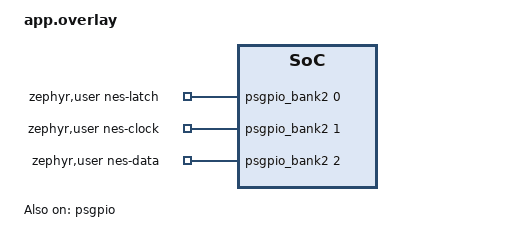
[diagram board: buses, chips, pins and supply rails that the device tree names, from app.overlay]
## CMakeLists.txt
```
cmake_minimum_required(VERSION 3.20.0)
set(DTC_OVERLAY_FILE "${CMAKE_CURRENT_SOURCE_DIR}/app.overlay")
find_package(Zephyr REQUIRED HINTS $ENV{ZEPHYR_BASE})

project(nes_emulator CXX C)

target_include_directories(app PRIVATE include)

target_sources(app PRIVATE
    src/main.cpp
    src/virtual_screen.cpp
    src/CPU/cpu_core.cpp
    src/CPU/cpu_instructions.cpp
    src/CPU/cpu_utils.cpp
    src/CPU/address_logic.cpp
    src/PPU/PPU.cpp
    src/PPU/ppu_helper.cpp
    src/BUSComponents/bus.cpp
    src/BUSComponents/memory.cpp
    src/BUSComponents/cartridge.cpp
    src/BUSComponents/GLOBAL_VARIABLES.cpp
    src/input/nes_controller.cpp
    src/fb_udp.c
)

# Embed the NES ROM directly into the firmware image as a C byte array.
# Override with -DNES_ROM=/abs/path/to/game.nes at configure time.
# Default points at the smb.bin used during development.
set(NES_ROM "$ENV{HOME}/ZephyrOpensource/ADI_Temp/Licenta/smb.bin"
    CACHE FILEPATH "Path to the NES ROM to embed in the firmware")

if(NOT EXISTS "${NES_ROM}")
    message(FATAL_ERROR "NES_ROM not found: ${NES_ROM}\n"
                        "Pass -DNES_ROM=/path/to/game.nes to west build.")
endif()

# Write into include/generated (already on the system include path) so the
# array can be pulled in with #include <nes_rom.inc>.
generate_inc_file_for_target(app "${NES_ROM}"
    ${ZEPHYR_BINARY_DIR}/include/generated/nes_rom.inc)
```

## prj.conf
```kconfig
# PL310 L2 outer cache. Was disabled to isolate an earlier boot hang; re-enabled
# for performance now that CONFIG_NOCACHE_MEMORY=y handles GEM DMA coherency
# (the usual cause of PL310-related hangs on this SoC).
CONFIG_SOC_XILINX_PL310=y

# Optimize for speed — the NES core is a compute-bound interpreter, default
# -Os leaves a lot on the table.
CONFIG_SPEED_OPTIMIZATIONS=y

# C++ support
CONFIG_CPP=y
CONFIG_STD_CPP17=y
CONFIG_REQUIRES_FLOAT_PRINTF=n

# Logging — IMMEDIATE so messages print synchronously instead of being queued
# for a low-priority log thread that the busy emu thread never lets run.
CONFIG_LOG=y
CONFIG_LOG_DEFAULT_LEVEL=3
CONFIG_LOG_MODE_IMMEDIATE=y

# ROM embedded in the firmware image at build time (see CMakeLists.txt) — no SD driver needed

# Threading
CONFIG_MULTITHREADING=y
CONFIG_MAIN_STACK_SIZE=4096

# Heap for filesystem buffers
CONFIG_HEAP_MEM_POOL_SIZE=32768

# GPIO for NES controller
CONFIG_GPIO=y

# Random number generation (needed by network stack)
CONFIG_ENTROPY_GENERATOR=y
CONFIG_TEST_RANDOM_GENERATOR=y

# Networking - TCP framebuffer streaming (reliable, flow-controlled: no dropped
# frames, emulator paced by the link instead of overflowing TX buffers)
CONFIG_NETWORKING=y
CONFIG_NET_SOCKETS=y
CONFIG_NET_TCP=y
CONFIG_NET_UDP=y
CONFIG_NET_IPV4=y
CONFIG_NET_IF_UNICAST_IPV4_ADDR_COUNT=1
CONFIG_NET_CONFIG_SETTINGS=y
CONFIG_NET_CONFIG_MY_IPV4_ADDR="192.0.2.3"
CONFIG_NET_CONFIG_MY_IPV4_GW="192.0.2.1"
CONFIG_NET_CONFIG_MY_IPV4_NETMASK="255.255.255.0"

# Ethernet driver menu + L2 layer — REQUIRED. Without both, the whole
# ethernet driver menu is off and CONFIG_ETH_XLNX_GEM below is silently
# ignored (no interface, no link).
CONFIG_ETH_DRIVER=y
CONFIG_NET_L2_ETHERNET=y
CONFIG_ETH_XLNX_GEM=y

# Place the GEM DMA buffer-descriptor rings in non-cached RAM. The Zynq-7000
# GEM DMA does not snoop the cache, so caching the rings causes coherency
# stalls / silent hangs. (Same setting zperf uses on this board.)
CONFIG_NOCACHE_MEMORY=y

# Bulk RX/TX at 1G needs deeper network thread stacks than the default.
CONFIG_NET_TX_STACK_SIZE=65536
CONFIG_NET_RX_STACK_SIZE=65536
CONFIG_NET_PKT_RX_COUNT=16
CONFIG_NET_PKT_TX_COUNT=64
CONFIG_NET_BUF_RX_COUNT=64
CONFIG_NET_BUF_TX_COUNT=256
```

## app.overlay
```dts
/*
 * NES controller GPIO mapping.
 * psgpio_bank2 = EMIO GPIO bank (Zynq MIO is banks 0-1, EMIO starts at bank 2).
 * Pins 0,1,2 = EMIO bits 0,1,2 as assigned in Vivado block design.
 *
 * XDC mapping (JA PMOD header):
 *   EMIO[0] = JA1 (Y11)  = LATCH
 *   EMIO[1] = JA2 (AA11) = CLOCK
 *   EMIO[2] = JA3 (Y10)  = DATA
 */
/ {
    zephyr,user {
        nes-latch-gpios = <&psgpio_bank2 0 GPIO_ACTIVE_HIGH>;
        nes-clock-gpios = <&psgpio_bank2 1 GPIO_ACTIVE_HIGH>;
        nes-data-gpios  = <&psgpio_bank2 2 GPIO_ACTIVE_HIGH>;
    };
};

&psgpio {
    status = "okay";
};
```

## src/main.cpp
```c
#include <zephyr/kernel.h>
#include <zephyr/logging/log.h>
#include <zephyr/sys/device_mmio.h>
#include <string.h>

#include "bus.h"
#include "cartridge.h"
#include "cpu.h"
#include "ppu.h"
#include "virtual_screen.h"
#include "nes_controller.h"
#include "fb_udp.h"

LOG_MODULE_REGISTER(nes_main, LOG_LEVEL_INF);

static volatile uint8_t *bram_fb;

#define ROM_PATH "" /* ROM loaded by U-Boot into RAM, path unused */

#define EMU_STACK_SIZE    8192
#define INPUT_STACK_SIZE  1024
#define EMU_PRIORITY      5
#define INPUT_PRIORITY    4   /* higher priority than emulator so input is always fresh */

extern uint8_t pixels[256 * 240];
extern volatile bool RENDER_ENABLED;

/* Shared controller byte — input thread writes, emulator thread reads */
static volatile uint8_t controller_byte;

/* Gate the emulator until the network is up. The emu thread busy-spins and
 * would otherwise starve the lower-priority net stack threads (PHY link poll,
 * net-mgmt, config), so the interface would never come up. Set true only after
 * fb_udp_init() has the interface ready. */
static volatile bool net_ready;

/* ------------------------------------------------------------------ */
/* Input thread: polls the NES controller every 10ms                  */
/* ------------------------------------------------------------------ */

static void input_thread_fn(void *p1, void *p2, void *p3)
{
    ARG_UNUSED(p1);
    ARG_UNUSED(p2);
    ARG_UNUSED(p3);

    while (1) {
        controller_byte = nes_controller_read();
        k_msleep(10);
    }
}

K_THREAD_DEFINE(input_thread, INPUT_STACK_SIZE,
                input_thread_fn, NULL, NULL, NULL,
                INPUT_PRIORITY, 0, 0);

/* ------------------------------------------------------------------ */
/* Emulation thread                                                    */
/* ------------------------------------------------------------------ */

static bool leap_cycle;

static void emu_thread_fn(void *p1, void *p2, void *p3)
{
    ARG_UNUSED(p1);
    ARG_UNUSED(p2);
    ARG_UNUSED(p3);

    LOG_INF("Emulation thread started");

    /* Wait for networking to come up before busy-spinning, otherwise this
     * thread starves the net stack and the interface never initialises.
     * k_msleep() yields to all lower-priority threads (unlike k_yield()). */
    while (!net_ready) {
        k_msleep(50);
    }
    LOG_INF("Network ready — emulation running");

    uint32_t emu_us = 0, send_us = 0;
    int prof = 0;

    /* Real-time frame pacing. The NES runs at ~60 Hz; the emulator is far
     * faster than that, so without throttling the game plays at several times
     * normal speed. We compute each frame's deadline as an absolute tick count
     * from a fixed base (base + frame * TICKS_PER_SEC / NES_FPS) — multiplying
     * before dividing keeps rounding from accumulating, so the cadence stays
     * locked to 60 Hz with no long-term drift. */
    const int NES_FPS = 60;
    int64_t base_ticks = k_uptime_ticks();
    uint64_t frame = 0;

    while (1) {
        uint32_t t0 = k_cycle_get_32();

        /* Emulate exactly one NES frame. ppu_render_scanline() advances the
         * scanline counter and sets RENDER_ENABLED when it wraps past the last
         * scanline, marking the frame boundary. */
        do {
            ppu_render_scanline();

            int cpu_ticks = 113 + (leap_cycle ? 1 : 0);
            leap_cycle = !leap_cycle;

            for (int j = 0; j < cpu_ticks; j++) {
                cpu_clock();
            }
        } while (!RENDER_ENABLED);

        controller[0] = controller_byte;
        RENDER_ENABLED = false;

        uint32_t t1 = k_cycle_get_32();

        memcpy((void *)bram_fb, pixels, 256 * 240);
        fb_udp_send_frame(pixels, 256, 240);

        uint32_t t2 = k_cycle_get_32();

        emu_us += k_cyc_to_us_floor32(t1 - t0);
        send_us += k_cyc_to_us_floor32(t2 - t1);
        if (++prof >= NES_FPS) {
            LOG_INF("avg/frame: emu=%u us  send=%u us  (capped ~%u fps)",
                    emu_us / NES_FPS, send_us / NES_FPS, NES_FPS);
            emu_us = send_us = 0;
            prof = 0;
        }

        /* Sleep until this frame's absolute deadline. If emulation+send already
         * overran the budget the deadline is in the past and k_sleep() returns
         * immediately (no artificial slowdown below real time). */
        frame++;
        int64_t deadline = base_ticks +
            (int64_t)((frame * CONFIG_SYS_CLOCK_TICKS_PER_SEC) / NES_FPS);
        k_sleep(K_TIMEOUT_ABS_TICKS(deadline));
    }
}

K_THREAD_DEFINE(emu_thread, EMU_STACK_SIZE,
                emu_thread_fn, NULL, NULL, NULL,
                EMU_PRIORITY, 0, 0);

/* ------------------------------------------------------------------ */
/* Main                                                                */
/* ------------------------------------------------------------------ */

int main(void)
{
    LOG_INF("NES Emulator starting on Zephyr");

    mm_reg_t bram_virt;
    device_map(&bram_virt, 0x40000000UL, 0x10000, K_MEM_CACHE_NONE);
    bram_fb = (volatile uint8_t *)bram_virt;
    LOG_INF("BRAM mapped: phys=0x40000000 virt=0x%08x", (uint32_t)bram_virt);

    if (nes_controller_init() != 0) {
        LOG_WRN("NES controller init failed — running without input");
    }

    screen_init();
    memory_init();

    if (!cartridge_read_file(ROM_PATH)) {
        LOG_ERR("Failed to load ROM: %s", ROM_PATH);
        return -1;
    }

    bus_init();
    cpu_init();
    cpu_reset();
    ppu_init();

    if (fb_udp_init() == 0) {
        net_ready = true;
    } else {
        LOG_ERR("network init failed — framebuffer streaming disabled");
        /* Let the emulator run anyway so input/PPU still work locally. */
        net_ready = true;
    }

    LOG_INF("Emulator initialised — threads running");
    return 0;
}
```

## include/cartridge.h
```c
#ifndef CARTRIDGE_HEADERGUARD
#define CARTRIDGE_HEADERGUARD
#include <stdint.h>
#include "emulator_config.h"
#include "memory.h"
typedef uint8_t byte;

struct Nametable_Map
{
    uint16_t map[4];
};

enum MIRROR
{
    VERTICAL,
    HORIZONTAL
};
extern Config config;


extern MIRROR mirroring;

bool cartridge_read_file(const char* rom_name);
const int PRG_BANK_SIZE = 16 * 1024;
const int CHR_BANK_SIZE = 8 * 1024;

/* iNES mapper numbers this emulator understands. */
#define MAPPER_NROM 0
#define MAPPER_MMC1 1
#define MAPPER_MMC3 4

/* Set by cartridge_read_file() so the bus (memory.cpp) can route CPU writes
 * to $8000-$FFFF into the active mapper instead of treating them as ROM. */
extern byte cart_mapper;

/* True when the cartridge has no CHR ROM and the 8 KB CHR window is RAM
 * (writable via the PPU bus). Mapper-0 games with CHR ROM leave this false. */
extern bool chr_is_ram;

/**
 * @brief Feed one CPU write to the MMC1 (mapper 1) serial port.
 *
 * MMC1 latches a value over five consecutive writes to $8000-$FFFF; this
 * drives that shift register and applies bank/mirroring changes once a
 * register completes. Only call for cart_mapper == MAPPER_MMC1.
 *
 * @param addr CPU address of the write ($8000-$FFFF); bits 14-13 select the
 *             target internal register on the fifth write.
 * @param data Byte written; bit 7 resets the shift register, bit 0 is data.
 */
void mmc1_write(uint16_t addr, byte data);

/**
 * @brief Feed one CPU write to the MMC3 (mapper 4) registers.
 *
 * Bank/mirroring/IRQ registers are selected by the address range and its low
 * bit (even/odd). Only call for cart_mapper == MAPPER_MMC3.
 *
 * @param addr CPU address of the write ($8000-$FFFF).
 * @param data Byte written.
 */
void mmc3_write(uint16_t addr, byte data);

/**
 * @brief Clock the mapper's scanline IRQ counter (MMC3).
 *
 * Call once per visible scanline while rendering is enabled. No-op for mappers
 * without a scanline counter. May set the CPU IRQ line pending.
 */
void mapper_scanline(void);




#endif
```

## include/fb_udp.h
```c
#ifndef FB_UDP_H
#define FB_UDP_H

#include <stdint.h>

#ifdef __cplusplus
extern "C" {
#endif

int fb_udp_init(void);
void fb_udp_send_frame(const uint32_t *pixels, int width, int height);

#ifdef __cplusplus
}
#endif

#endif
```

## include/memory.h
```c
#ifndef MEMORY_HEADERGUARD
#define MEMORY_HEADERGUARD
#include "ppu.h"
#include "bus.h"
#include <stdint.h>
#include <string.h>
#include <stdio.h>


typedef uint8_t byte;

void memory_init();


extern byte PRGrom[0x8000];
extern byte CHRrom[0x4000];
extern byte CPUram[0x0800];
extern byte PPUram[0x3FFF];
extern byte PRGram[0x2000];

byte cpu_read(uint16_t addr);
void cpu_write(uint16_t addr, byte data);


#endif
```

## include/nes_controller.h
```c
#ifndef NES_CONTROLLER_H
#define NES_CONTROLLER_H

#include <stdint.h>

/*
 * Button bits in the returned byte (active high, unlike the raw wire).
 * Order matches the 74HC4021 shift order: A is MSB, Right is LSB.
 */
#define NES_BTN_A       (1 << 7)
#define NES_BTN_B       (1 << 6)
#define NES_BTN_SELECT  (1 << 5)
#define NES_BTN_START   (1 << 4)
#define NES_BTN_UP      (1 << 3)
#define NES_BTN_DOWN    (1 << 2)
#define NES_BTN_LEFT    (1 << 1)
#define NES_BTN_RIGHT   (1 << 0)

int  nes_controller_init(void);
uint8_t nes_controller_read(void);

#endif
```

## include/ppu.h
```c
#ifndef HEADERGUARD_PPU
#define HEADERGUARD_PPU
#include <stdint.h>
#include "virtual_screen.h"
#include "cartridge.h"
#include "memory.h"

#define VISIBLE_SCANLINES 240
#define VISIBLE_DOTS 256
#define FRAME_END_SCANLINE 261
#define DOTS_PER_SCANLINE 341
#define LAST_SCANLINE_DOT 340

typedef uint8_t byte;

// this is size 4
struct _OAM
{
    byte y;
    byte id;
    byte attributes;
    byte x;
}; // this is how a sprite is stored

extern union PPUStatus
{
    struct
    {
        uint8_t unused : 5;          
        uint8_t sprite_overflow : 1; 
        uint8_t sprite_zero_hit : 1; 
        uint8_t vertical_blank : 1;  
    };
    byte reg;
} status;

extern union PPUmask
{
    struct
    {
        byte grayscale : 1;
        byte render_background_left : 1;
        byte render_sprites_left : 1;
        byte render_background : 1;
        byte render_sprites : 1;
        byte enhance_red : 1;
        byte enhance_green : 1;
        byte enhance_blue : 1;
    };

    byte reg;
} mask;

extern union PPUctrl
{
    struct
    {
        byte nametable_x : 1;
        byte nametable_y : 1;
        byte increment_mode : 1;
        byte pattern_sprite : 1;
        byte pattern_background : 1;
        byte sprite_size : 1;
        byte slave_mode : 1; // UNUSED
        byte enable_nmi : 1;
    };
    byte reg;
} control;

union loopy
{
    // THE X and T registers play more roles. Can either be used as address for vram or for selecting other stuff
    struct
    {
        uint16_t coarse_x : 5;
        uint16_t coarse_y : 5;
        uint16_t nametable_x : 1;
        uint16_t nametable_y : 1;
        uint16_t fine_y : 3;
        uint16_t unused : 1;
    };
    uint16_t reg;
};

extern bool pause_after_frame;
extern uint16_t current_frame;
extern bool odd_frame;

// byte bus;
extern loopy vaddr; 
// in render = scrolling position, outside of rendering = the current VRAM address
extern loopy taddr; 
// During rendering it does something. Outsdie of rendering, holds the VRAM address before transfering it to v
extern uint16_t x; 
// FINE x position of the current scroll, used during rendering alongside v
extern uint16_t w; 
// Togles on each write to PPUSCROLL or PPUADDR, indicating whether it's the first or secnon dwrite. Clears on reads of PPUSTATUS
// its also claled the write latch or write toggle

extern int16_t scanline;
extern uint16_t dots;
extern byte transparent_pixel_color;
extern bool PPUSCROLL_latch;
extern bool PPUADDR_latch;
extern bool first_write;

extern uint16_t PPUSCROLL16;
extern uint16_t PPUADDR16;
extern byte PPUDATA;
extern byte OAMDMA;
extern byte PPU_BUFFER;
extern bool even_frame;
extern _OAM OAM[64];
extern byte *pOAM; // pointer to OAM for byte by byte access
void ppu_init();


extern byte OAMADDR;
extern byte OAMDATA;
extern byte PPUSCROLL;

extern byte nametable[2][0x0400]; // mirrored
extern byte patterntable[2][0x1000];
extern byte pallete_table[32];
extern byte fine_x; // 3 bits wide! 

// rendering shift registers! they shift every PPU clock. There are 2 16bit registers
// https://www.nesdev.org/wiki/PPU_rendering


// BACKGROUND RENDEERING
extern uint16_t bgs_pattern_l;
extern uint16_t bgs_pattern_h;
extern uint16_t bgs_attribute_l;
extern uint16_t bgs_attribute_h;
extern byte bg_next_tile_id;
extern byte bg_next_tile_attrib;
extern byte bg_next_tile_lsb;
extern byte bg_next_tile_msb;

// FOREGROUND RENDERING
extern _OAM sprites_on_scanline[8]; // only 8 sprites per scanline
extern byte sprite_cnt;
extern byte sp_pattern_l[8];        // Every sprite pattern is made of 16 bits
extern byte sp_pattern_h[8];
extern bool sprite_zero_on_scanline;
extern bool sprite_zero_is_rendering;
void ppu_reset();
void ppu_render_scanline();
void ppu_execute();
void set_vblank_nmi();
void clear_vblank_nmi();
void set_vblank();
void clear_vblank();
byte get_status();
byte get_control();
// For main bus

byte ppu_read_from_cpu(byte addr);
void ppu_write_from_cpu(byte addr, byte data);
// for internal ppu bus

byte ppu_read(uint16_t addr);
void ppu_write(uint16_t addr, byte data);

/* Nametable mirroring modes for ppu_set_mirroring() (match MMC1 control bits). */
#define NT_MIRROR_ONE_LOWER  0
#define NT_MIRROR_ONE_UPPER  1
#define NT_MIRROR_VERTICAL   2
#define NT_MIRROR_HORIZONTAL 3

/**
 * @brief Set nametable mirroring at runtime (used by MMC1/MMC3).
 *
 * @param mode One of NT_MIRROR_ONE_LOWER, NT_MIRROR_ONE_UPPER,
 *             NT_MIRROR_VERTICAL, NT_MIRROR_HORIZONTAL.
 */
void ppu_set_mirroring(int mode);

// PPU Helper functions and variables
extern byte flip_byte[256];
void generate_flip_byte_lt();
void build_tile_cache();
void build_tile_cache_range(int first_tile, int tile_count);


void clock_shifters();

inline void load_bg_shifters();
inline void transfer_address_x();
inline void increment_scroll_x();
inline void increment_scroll_y();
inline void transfer_address_y();


void init_sprites_on_scanline();
loopy build_background_scanline(int scanline_index, loopy vaddr_snapshot, byte fine_x_snapshot);

// Unused. PPU used to be a state machine, now it just renders scanline by scanline 
enum State
{
    PRE_RENDER,
    RENDER,
    POST_RENDER,
    VERTICAL_BLANK
};
extern State pipeline_state;
extern int cycle;


//Optimizations 
extern byte scanline_buffer[256];
extern byte tile_pixels[512][8][8]; //Decode CHR tiles in advance - for Mapper0 games this never changes
extern bool tile_cache_initialized;
byte ppu_read_nametable_tile(byte nt_x, byte nt_y, byte coarse_x, byte coarse_y);
#endif
```

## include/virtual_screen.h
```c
#ifndef VIRTUAL_SCREEN_H
#define VIRTUAL_SCREEN_H
#include <stdint.h>

/*
This file contains a virtual screen from which
the framebuffer will be created.

Each pixel is stored as a 6-bit NES palette index (1 byte/pixel) rather than a
resolved ARGB32 color. This keeps the framebuffer at 256*240 = 60 KB instead of
240 KB, cutting the per-frame TCP payload by 4x. The PC viewer owns the
palette->RGB lookup (see pc_viewer/viewer.py, which mirrors the table below).
*/
void screen_init();
extern uint8_t pixels[256 * 240];
extern volatile bool RENDER_ENABLED;

inline void screen_set_pixel(uint16_t scanline, uint16_t dot, uint8_t color_index)
{
    pixels[256 * scanline + dot] = color_index;
}


#endif
```

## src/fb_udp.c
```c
#include "fb_udp.h"
#include <zephyr/kernel.h>
#include <zephyr/net/socket.h>
#include <zephyr/net/net_if.h>
#include <zephyr/logging/log.h>
#include <string.h>
#include <stdint.h>
#include <errno.h>

LOG_MODULE_REGISTER(fb_udp, LOG_LEVEL_INF);

/* TCP server: the board listens, the PC viewer connects in. TCP gives ordered,
 * reliable, flow-controlled delivery, so unlike the old UDP scheme there are no
 * dropped chunks / discarded frames and the emulator is naturally paced by the
 * link instead of overflowing the TX buffer pool. */
#define LISTEN_PORT  5555

/* Wire format per frame: 4-byte big-endian length, then that many raw bytes
 * (the ARGB32 framebuffer). The viewer reads the length, then that many bytes. */
#define LEN_HEADER_SIZE 4

static int listen_sock = -1;
static int conn_sock = -1;

/* Wait for the default interface to come up and get an IPv4 address. The
 * emulator threads start almost immediately, but GEM link/static address only
 * settle a few seconds into boot. */
static int wait_for_iface(void)
{
    struct net_if *iface = NULL;

    LOG_INF("waiting for network interface to be ready...");
    for (int i = 0; i < 400; i++) {            /* up to ~20s */
        if (iface == NULL) {
            iface = net_if_get_default();
        }
        if (iface != NULL && net_if_is_up(iface) &&
            net_if_ipv4_get_global_addr(iface, NET_ADDR_PREFERRED) != NULL) {
            break;
        }
        k_msleep(50);
    }

    if (iface == NULL ||
        net_if_ipv4_get_global_addr(iface, NET_ADDR_PREFERRED) == NULL) {
        LOG_ERR("network interface not ready after timeout");
        return -ETIMEDOUT;
    }
    LOG_INF("network interface ready");
    return 0;
}

int fb_udp_init(void)
{
    int ret = wait_for_iface();
    if (ret < 0) {
        return ret;
    }

    listen_sock = zsock_socket(AF_INET, SOCK_STREAM, IPPROTO_TCP);
    if (listen_sock < 0) {
        LOG_ERR("socket() failed: %d", errno);
        return -errno;
    }

    struct sockaddr_in bind_addr;
    memset(&bind_addr, 0, sizeof(bind_addr));
    bind_addr.sin_family = AF_INET;
    bind_addr.sin_addr.s_addr = htonl(INADDR_ANY);
    bind_addr.sin_port = htons(LISTEN_PORT);

    if (zsock_bind(listen_sock, (struct sockaddr *)&bind_addr,
                   sizeof(bind_addr)) < 0) {
        LOG_ERR("bind() failed: %d", errno);
        zsock_close(listen_sock);
        listen_sock = -1;
        return -errno;
    }

    if (zsock_listen(listen_sock, 1) < 0) {
        LOG_ERR("listen() failed: %d", errno);
        zsock_close(listen_sock);
        listen_sock = -1;
        return -errno;
    }

    /* Non-blocking accept so the emulator keeps running (and the input thread
     * stays responsive) even when no viewer is connected. */
    int flags = zsock_fcntl(listen_sock, ZVFS_F_GETFL, 0);
    zsock_fcntl(listen_sock, ZVFS_F_SETFL, flags | ZVFS_O_NONBLOCK);

    LOG_INF("TCP framebuffer server listening on port %d", LISTEN_PORT);
    return 0;
}

/* Send exactly len bytes, looping over partial writes. Returns 0 on success,
 * <0 if the connection broke. */
static int send_all(const uint8_t *buf, int len)
{
    int sent = 0;

    while (sent < len) {
        int n = zsock_send(conn_sock, buf + sent, len - sent, 0);
        if (n > 0) {
            sent += n;
            continue;
        }
        if (n < 0 && (errno == EAGAIN || errno == EWOULDBLOCK)) {
            /* TX path momentarily full — let lower-priority net threads run. */
            k_msleep(1);
            continue;
        }
        /* n == 0 or a real error: peer closed / connection reset. */
        return -1;
    }
    return 0;
}

void fb_udp_send_frame(const uint32_t *pixels, int width, int height)
{
    if (listen_sock < 0) {
        return;
    }

    /* No viewer connected yet — accept one (blocks until the PC connects). */
    if (conn_sock < 0) {
        struct sockaddr_in peer;
        socklen_t peer_len = sizeof(peer);

        conn_sock = zsock_accept(listen_sock, (struct sockaddr *)&peer,
                                 &peer_len);
        if (conn_sock < 0) {
            return;     /* try again next frame */
        }
        LOG_INF("viewer connected");
    }

    uint32_t total_bytes = (uint32_t)width * height * 4;

    /* 4-byte big-endian length header. */
    uint8_t hdr[LEN_HEADER_SIZE];
    hdr[0] = (total_bytes >> 24) & 0xFF;
    hdr[1] = (total_bytes >> 16) & 0xFF;
    hdr[2] = (total_bytes >> 8) & 0xFF;
    hdr[3] = total_bytes & 0xFF;

    if (send_all(hdr, LEN_HEADER_SIZE) < 0 ||
        send_all((const uint8_t *)pixels, total_bytes) < 0) {
        LOG_INF("viewer disconnected");
        zsock_close(conn_sock);
        conn_sock = -1;
    }
}
```

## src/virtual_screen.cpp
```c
#include "virtual_screen.h"
#include <string.h>

uint8_t pixels[256 * 240];
volatile bool RENDER_ENABLED;

void screen_init(void)
{
    memset(pixels, 0, sizeof(pixels));
    RENDER_ENABLED = false;
}
```
